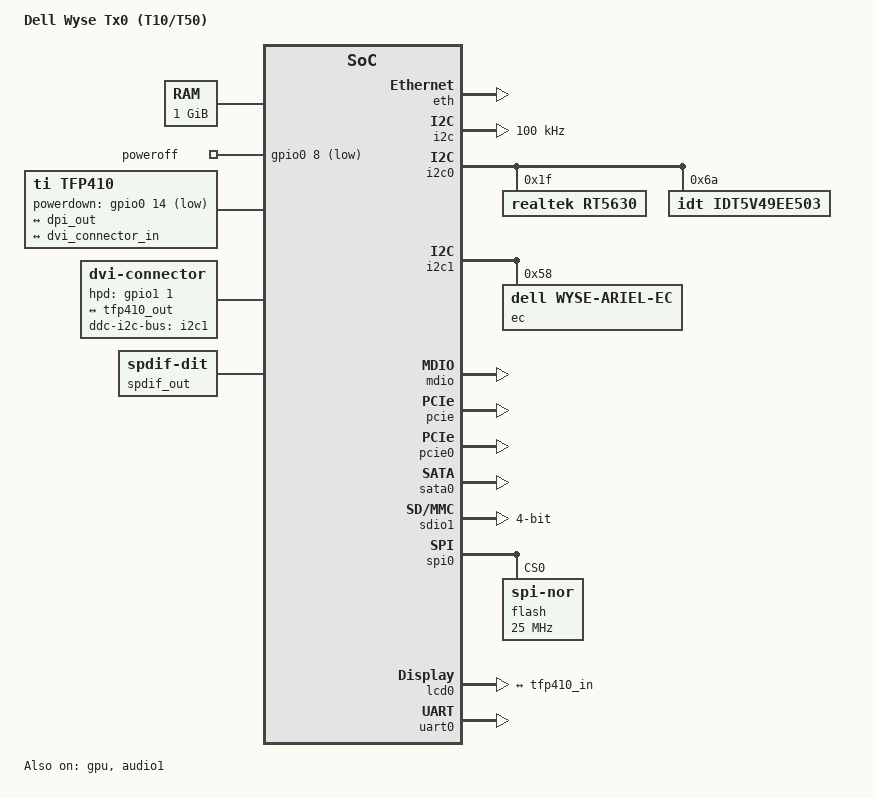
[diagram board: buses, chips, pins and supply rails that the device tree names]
// SPDX-License-Identifier: GPL-2.0
/*
 * Copyright (C) 2018-2023
 * bodhi <mibodhi@gmail.com>
 * Koen
 * balux33
 */

/dts-v1/;
#include <dt-bindings/gpio/gpio.h>
#include "dove.dtsi"

/ {
	model = "Dell Wyse Tx0 (T10/T50)";
	compatible = "wyse,tx0", "marvell,dove";

	aliases {
		serial0 = &uart0;
	};

	chosen {
		stdout-path = "serial0:115200n8";
	};

	memory {
		device_type = "memory";
		reg = <0x00000000 0x40000000>;
	};

	poweroff {
		compatible = "gpio-poweroff";
		gpios = <&gpio0 8 GPIO_ACTIVE_LOW>;
		pinctrl-0 = <&pmx_gpio_8>;
		pinctrl-names = "default";
	};
	
	gpu-subsystem {
		status = "okay";
	};
	
	reserved-memory {
		#address-cells = <1>;
		#size-cells = <1>;
		ranges;

		framebuffer {
			compatible = "marvell,armada-framebuffer";
			size = <0x02000000>;
			alignment = <0x02000000>;
			no-map;
		};
	};
	
	tfp410: encoder@0 {
		compatible = "ti,tfp410";
		powerdown-gpios = <&gpio0 14 GPIO_ACTIVE_LOW>;
		ports {
			#address-cells = <1>;
			#size-cells = <0>;
			port@0 {
				reg = <0>;
				tfp410_in: endpoint@0 {
					remote-endpoint = <&dpi_out>;
				};
			};
			port@1 {
				reg = <1>;
				tfp410_out: endpoint@0 {
					remote-endpoint = <&dvi_connector_in>;
				};
			};
		};
	};

	dvi0: connector@0 {
		compatible = "dvi-connector";
		label = "dvi";
		digital;
		ddc-i2c-bus = <&i2c1>;
		hpd-gpios = <&gpio1 1 GPIO_ACTIVE_HIGH>;
		port {
			dvi_connector_in: endpoint {
				remote-endpoint = <&tfp410_out>;
			};
		};
	};

	spdif_out: spdif-out {
		  #sound-dai-cells = <0>;
	      compatible = "linux,spdif-dit";
	};
	
	sound {
		compatible = "simple-audio-card";
		simple-audio-card,name = "Wyse_Tx0_Audio";
		simple-audio-card,mclk-fs = <256>;
 	
		simple-audio-card,dai-link@0 {		// I2S - RT5630
			reg = <0>;
			format = "i2s";
			cpu {
				sound-dai = <&audio1 0>;
			};
			codec {
				sound-dai = <&rt5630>;
			};
		};

		simple-audio-card,dai-link@1 {		// S/PDIF (line out combo jack)
			reg = <1>;
			format = "i2s";
			cpu {
				sound-dai = <&audio1 1>;
			};
			codec {
				sound-dai = <&spdif_out>;
			};
		};
	};	
};

&eth { status = "okay"; };

&ethphy {
	reg = <1>;
};

&i2c {
	pinctrl-0 = <&pmx_i2c1>;
	pinctrl-names = "default";
	clock-frequency = <100000>;
};

&i2c0 {
	rt5630: rt5630@1f {
			compatible = "realtek,rt5630";
			reg = <0x1f>;
			#sound-dai-cells = <0>;
	};
	
	idt5v49ee503: clock-generator@6A {
		#clock-cells = <0>;
		compatible = "idt,idt5v49ee503";
		reg = <0x6A>;
		factory-fout = <50000000>;
	};
};

&i2c1 {
	status = "okay";

	ec@58 {
		compatible = "dell,wyse-ariel-ec", "ene,kb3930";
		reg = <0x58>;
	};
};

&mdio { status = "okay"; };

&pcie { status = "okay"; };

&pcie0 { status = "okay"; };

&sata0 { status = "okay"; };

&sdio1 {
	status = "okay";

	bus-width = <4>;
	//cd-gpios = <&gpio0 12 GPIO_ACTIVE_LOW>;
	//wp-gpios = <&gpio0 13 GPIO_ACTIVE_LOW>;
};

&spi0 {
	status = "okay";

	flash@0 {
		compatible = "jedec,spi-nor";
		reg = <0>;
		spi-max-frequency = <25000000>;
	};
};

&gpu {
 status = "okay";
};

&lcd0{
	//clocks = <&divider_clk 3>;   
	//clock-names = "plldivider";
	clocks = <&idt5v49ee503 0>;
	clock-names = "ext_ref_clk1";  //connected to pll out 2
	status = "okay";
	
	lcd0_port: port 
	{
		dpi_out: endpoint {
			remote-endpoint = <&tfp410_in>;
		};
	};
};

&uart0 { status = "okay"; };

&audio1 {
	status = "okay";
	#sound-dai-cells = <1>;
	clocks = <&gate_clk 13>;
	clock-names = "internal";
	pinctrl-0 = <&pmx_audio1_i2s1_spdifo>;
	pinctrl-names = "default";
};
